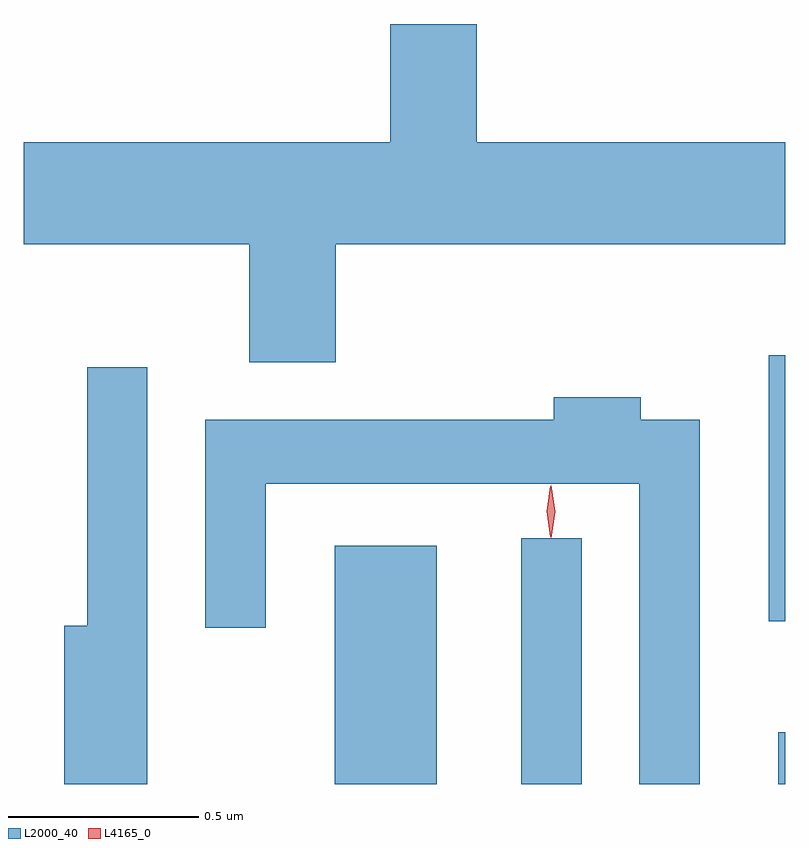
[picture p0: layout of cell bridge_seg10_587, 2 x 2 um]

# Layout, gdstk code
import gdstk
lib = gdstk.Library(unit=1e-6, precision=1e-09)
def R(c, l, rs):  # rectangles x0, y0, x1, y1
    for r in rs: c.add(gdstk.rectangle(r[:2], r[2:], *l))
def P(c, l, *ps):  # polygons
    for p in ps: c.add(gdstk.Polygon(p, *l))
L2000_40 = (2000, 40)
L4165_0 = (4165, 0)

bridge_seg10_587 = lib.new_cell('bridge_seg10_587')
R(bridge_seg10_587, L2000_40, [(787.656,2167.998,787.924,2168.624), (788.146,2167.998,788.304,2168.643), (788.821,2167.998,788.839,2168.134), (788.796,2168.426,788.839,2169.124)])
P(bridge_seg10_587, L2000_40, [(787.659,2169.416),(788.839,2169.416),(788.839,2169.684),(788.029,2169.684),(788.029,2169.994),(787.801,2169.994),(787.801,2169.684),(786.839,2169.684),(786.839,2169.416),(787.431,2169.416),(787.431,2169.106),(787.659,2169.106)],
  [(787.164,2169.093),(787.006,2169.093),(787.006,2168.414),(786.946,2168.414),(786.946,2167.998),(787.164,2167.998)],
  [(788.614,2168.954),(788.459,2168.954),(788.459,2169.014),(788.231,2169.014),(788.231,2168.954),(787.316,2168.954),(787.316,2168.408),(787.474,2168.408),(787.474,2168.786),(788.456,2168.786),(788.456,2167.998),(788.614,2167.998)])
P(bridge_seg10_587, L4165_0, [(788.224,2168.644),(788.215,2168.713),(788.224,2168.782),(788.225,2168.783),(788.225,2168.782),(788.235,2168.713),(788.225,2168.644),(788.225,2168.644)],
  [(788.222,2168.647),(788.222,2168.648),(788.212,2168.714),(788.222,2168.78),(788.222,2168.78),(788.223,2168.78),(788.232,2168.714),(788.223,2168.648)])

lib.write_gds('bridge_seg10_587.gds')
